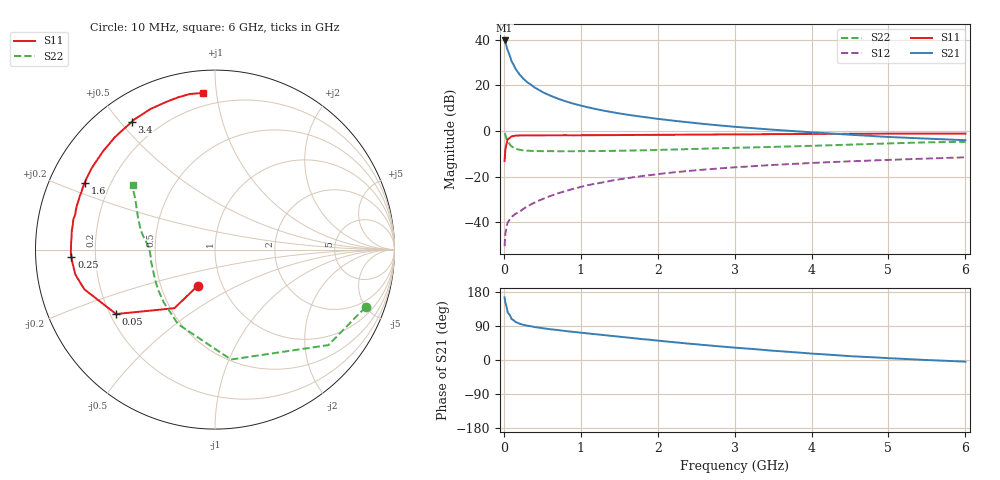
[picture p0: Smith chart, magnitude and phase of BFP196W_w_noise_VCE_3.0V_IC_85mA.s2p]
! Infineon Technologies  Discrete & RF Semiconductors
! BFP196W
! VCE =  3.0 V,  IC =  85 mA
! Common Emitter S-Parameters:  Jan 2017
# GHz  S  MA  R  50
!  f  S11  S21  S12  S22
! GHz  MAG  ANG  MAG  ANG  MAG  ANG  MAG  ANG
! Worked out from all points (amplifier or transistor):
!   77 points, 10 MHz to 6 GHz, reference 50 ohm
!   highest |S21| = 39.6 dB at 10 MHz (marker M1)
!   |S21| within 3 dB of that: start of sweep to 38.25 MHz
!   unconditionally stable (mu >= 1): 480.1 MHz to 3.311 GHz
!   at 130 MHz: K = 0.58, MSG = 32.8 dB, |S12| = -36.8 dB
!   at 2.2 GHz: K = 1.03, MAG = 10.2 dB, |S12| = -18.2 dB
!   at 6 GHz: K = 0.96, MSG = 3.7 dB, |S12| = -11.5 dB
!   lowest NFmin = 1.73 dB at 450 MHz
!   S11 on the Smith chart (normalised r, x): 10 MHz: 0.77, -0.32; 50 MHz: 0.22, -0.28; 250 MHz: 0.11, -0.03; 1.6 GHz: 0.11, +0.24; 3.4 GHz: 0.11, +0.54; 6 GHz: 0.12, +0.92
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0.01  0.2221 -115.4  96.03 165.2  0.003 79.7  0.898 -20.9
0.02  0.3967 -124.7  87.35 151.1  0.0057 67.5  0.826 -40.1
0.05  0.6575 -146.9  58.4 125.2  0.0099 50.1  0.6189 -81.7
0.1  0.7608 -163.1  33.8 108.1  0.013 46.0  0.4636 -116.4
0.15  0.7901 -169.8  23.31 100.8  0.0153 48.5  0.4096 -134.3
0.2  0.7962 -173.9  17.65 96.2  0.0168 53.3  0.3884 -144.3
0.25  0.8011 -176.9  14.18 93.0  0.0195 55.1  0.3764 -151.2
0.3  0.8031 -178.9  11.85 90.7  0.022 57.2  0.37 -155.8
0.4  0.8026 177.5  8.937 86.9  0.027 62.8  0.3642 -162.1
0.5  0.8023 174.8  7.153 84.0  0.0321 64.2  0.3615 -166.2
0.6  0.8049 172.4  5.978 81.3  0.0375 66.0  0.3624 -169.1
0.7  0.8041 170.2  5.119 79.1  0.0429 67.2  0.3598 -171.3
0.9  0.8028 165.9  3.979 74.3  0.0538 67.2  0.3608 -174.4
1.1  0.8077 162.1  3.281 70.0  0.0655 66.7  0.3624 -177.0
1.3  0.8102 158.2  2.782 65.8  0.0755 65.7  0.3647 -179.2
1.6  0.8155 152.8  2.282 59.4  0.0924 63.5  0.3712 177.6
2.1  0.8243 143.6  1.763 49.2  0.1185 58.8  0.3884 173.0
3.1  0.842 127.4  1.199 31.1  0.1638 48.8  0.4311 164.3
3.4  0.8496 123.0  1.098 26.2  0.176 46.1  0.4436 161.6
4.1  0.8619 113.4  0.913 15.7  0.2026 39.7  0.4786 154.8
5.1  0.8735 102.8  0.727 3.9  0.2359 31.4  0.5396 146.2
6  0.8756 94.4  0.628 -4.4  0.2649 24.2  0.5783 141.8
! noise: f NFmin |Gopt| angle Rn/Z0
0.45  1.73  0.57  -175  0.06
0.9  1.87  0.6  -168  0.08
1.9  2.74  0.7  -148  0.21
2.4  3.15  0.74  -143  0.34
